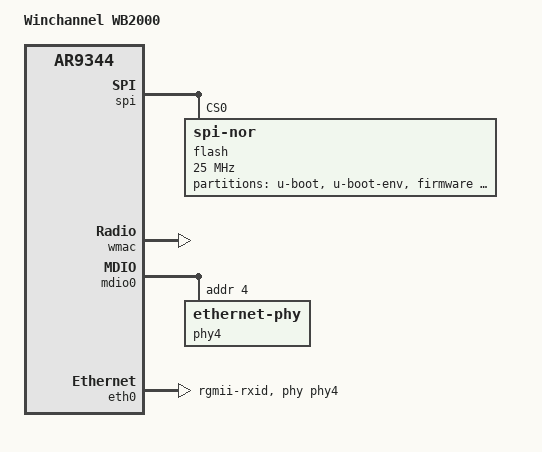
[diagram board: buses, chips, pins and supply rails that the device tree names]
// SPDX-License-Identifier: GPL-2.0-or-later OR MIT

#include "ar9344.dtsi"

#include <dt-bindings/gpio/gpio.h>
#include <dt-bindings/input/input.h>

/ {
	model = "Winchannel WB2000";
	compatible = "winchannel,wb2000", "qca,ar9344";

	chosen {
		bootargs = "console=ttyS0,115200n8";
	};
};

&ref {
	clock-frequency = <40000000>;
};

&spi {
	status = "okay";

	flash@0 {
		compatible = "jedec,spi-nor";
		reg = <0>;
		spi-max-frequency = <25000000>;

		partitions {
			compatible = "fixed-partitions";
			#address-cells = <1>;
			#size-cells = <1>;

			partition@0 {
				label = "u-boot";
				reg = <0x0 0x40000>;
				read-only;
			};

			partition@40000 {
				label = "u-boot-env";
				reg = <0x40000 0x10000>;
				read-only;
			};

			partition@50000 {
				label = "firmware";
				reg = <0x50000 0xfa0000>;
				compatible = "denx,uimage";
			};

			partition@fd0000 {
				label = "nvram";
				reg = <0xfd0000 0x10000>;
				read-only;
			};

			partition@ff0000 {
				label = "art";
				reg = <0xff0000 0x10000>;
				read-only;

                               compatible = "nvmem-cells";
				#address-cells = <1>;
				#size-cells = <1>;
					
				calibration_art_1000: calibration@1000 {
					reg = <0x1000 0x440>;
				};
				
				macaddr_addr_0: macaddr@0 {
					reg = <0x0 0x6>;
				};
			};	
		};
	};
};

&wmac {
	status = "okay";

	nvmem-cells = <&macaddr_addr_0>, <&calibration_art_1000>;
	nvmem-cell-names = "mac-address", "calibration";
};

&mdio0 {
	status = "okay";

	phy4: ethernet-phy@4 {
		reg = <4>;
	};
};

&eth0 {
	status = "okay";

	pll-data = <0xe000000 0x04000101 0x04001313>;

	nvmem-cells = <&macaddr_addr_0>;
	nvmem-cell-names = "mac-address";
	mac-address-increment = <0x21>;

	phy-mode = "rgmii-rxid";
	phy-handle = <&phy4>;

	gmac-config {
		device = <&gmac>;
		rgmii-gmac0 = <1>;
		rxd-delay = <1>;
		rxdv-delay = <1>;
	};
};
